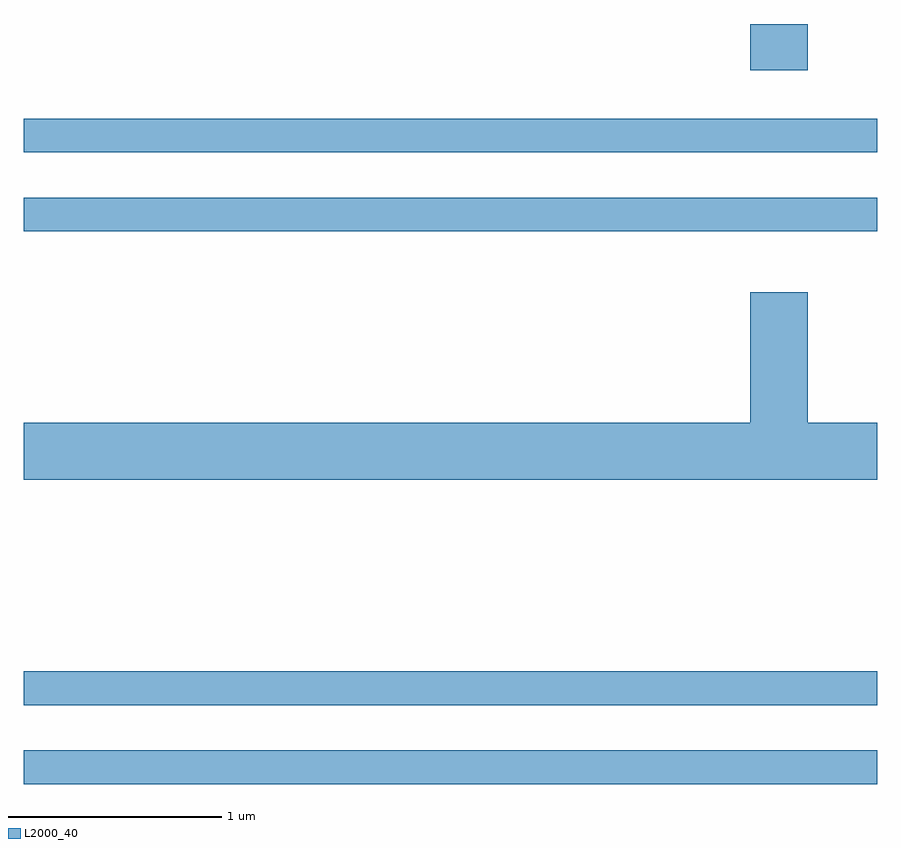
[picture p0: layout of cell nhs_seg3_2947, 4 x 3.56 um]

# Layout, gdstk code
import gdstk
lib = gdstk.Library(unit=1e-6, precision=1e-09)
def R(c, l, rs):  # rectangles x0, y0, x1, y1
    for r in rs: c.add(gdstk.rectangle(r[:2], r[2:], *l))
def P(c, l, *ps):  # polygons
    for p in ps: c.add(gdstk.Polygon(p, *l))
L2000_40 = (2000, 40)

nhs_seg3_2947 = lib.new_cell('nhs_seg3_2947')
R(nhs_seg3_2947, L2000_40, [(271.611,1162.331,275.611,1162.489), (271.611,1162.701,275.611,1162.859), (271.611,1164.921,275.611,1165.079), (271.611,1165.291,275.611,1165.449), (275.016,1165.676,275.284,1165.892)])
P(nhs_seg3_2947, L2000_40, [(275.611,1164.024),(275.284,1164.024),(275.284,1164.634),(275.016,1164.634),(275.016,1164.024),(271.611,1164.024),(271.611,1163.756),(275.611,1163.756)])

lib.write_gds('nhs_seg3_2947.gds')
